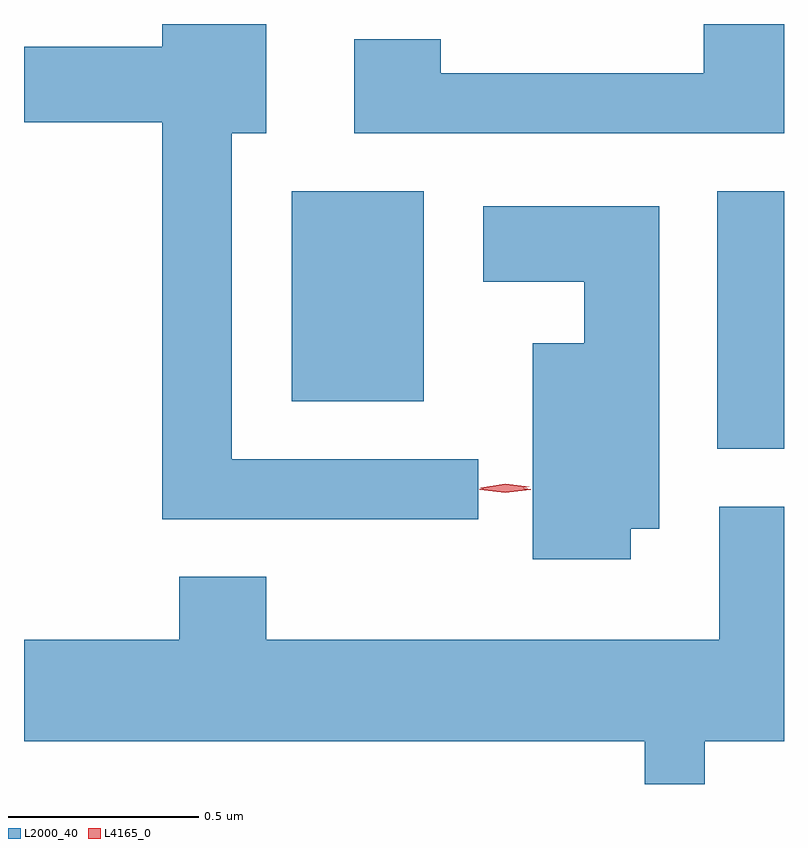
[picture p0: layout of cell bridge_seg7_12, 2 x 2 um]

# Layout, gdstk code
import gdstk
lib = gdstk.Library(unit=1e-6, precision=1e-09)
def R(c, l, rs):  # rectangles x0, y0, x1, y1
    for r in rs: c.add(gdstk.rectangle(r[:2], r[2:], *l))
def P(c, l, *ps):  # polygons
    for p in ps: c.add(gdstk.Polygon(p, *l))
L2000_40 = (2000, 40)
L4165_0 = (4165, 0)

bridge_seg7_12 = lib.new_cell('bridge_seg7_12')
R(bridge_seg7_12, L2000_40, [(1696.386,1741.726,1696.562,1742.404), (1695.266,1741.851,1695.614,1742.404)])
P(bridge_seg7_12, L2000_40, [(1696.562,1742.844),(1696.351,1742.844),(1696.351,1742.714),(1695.659,1742.714),(1695.659,1742.804),(1695.431,1742.804),(1695.431,1742.556),(1696.562,1742.556)],
  [(1695.758,1741.699),(1695.109,1741.699),(1695.109,1742.556),(1695.199,1742.556),(1695.199,1742.844),(1694.926,1742.844),(1694.926,1742.784),(1694.562,1742.784),(1694.562,1742.586),(1694.926,1742.586),(1694.926,1741.541),(1695.758,1741.541)],
  [(1696.159,1741.516),(1696.234,1741.516),(1696.234,1742.364),(1695.771,1742.364),(1695.771,1742.166),(1696.036,1742.166),(1696.036,1742.004),(1695.901,1742.004),(1695.901,1741.436),(1696.159,1741.436)],
  [(1696.354,1740.956),(1696.562,1740.956),(1696.562,1741.574),(1696.391,1741.574),(1696.391,1741.224),(1695.199,1741.224),(1695.199,1741.389),(1694.971,1741.389),(1694.971,1741.224),(1694.562,1741.224),(1694.562,1740.956),(1696.196,1740.956),(1696.196,1740.844),(1696.354,1740.844)])
P(bridge_seg7_12, L4165_0, [(1695.828,1741.61),(1695.761,1741.619),(1695.76,1741.62),(1695.761,1741.62),(1695.828,1741.63),(1695.896,1741.62),(1695.896,1741.62),(1695.896,1741.619)],
  [(1695.828,1741.614),(1695.764,1741.622),(1695.764,1741.623),(1695.764,1741.624),(1695.828,1741.634),(1695.891,1741.626),(1695.891,1741.626),(1695.891,1741.626)])

lib.write_gds('bridge_seg7_12.gds')
